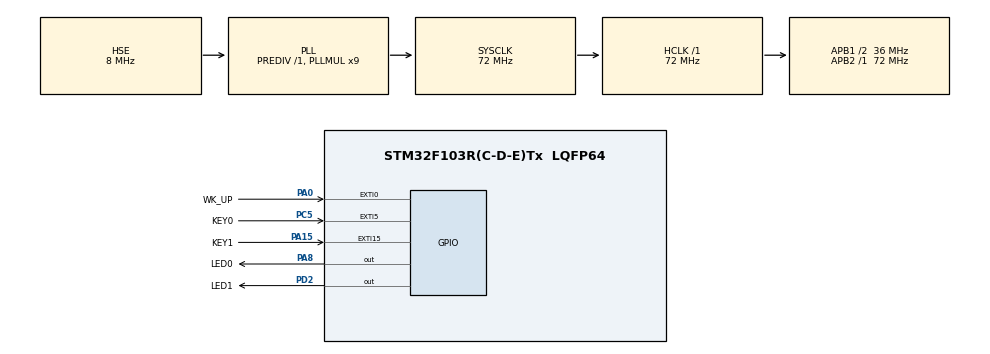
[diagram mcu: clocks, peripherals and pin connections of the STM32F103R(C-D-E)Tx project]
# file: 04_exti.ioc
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Mcu.Family=STM32F1
Mcu.Name=STM32F103R(C-D-E)Tx
Mcu.Package=LQFP64
NVIC.EXTI0_IRQn=true\:2\:0\:true\:false\:true\:true\:true\:true
NVIC.EXTI15_10_IRQn=true\:2\:2\:true\:false\:true\:true\:true\:true
NVIC.EXTI9_5_IRQn=true\:2\:1\:true\:false\:true\:true\:true\:true
NVIC.PriorityGroup=NVIC_PRIORITYGROUP_2
PA0-WKUP.GPIO_Label=WK_UP
PA0-WKUP.GPIO_PuPd=GPIO_PULLDOWN
PA0-WKUP.Signal=GPXTI0
PA13.Mode=Serial_Wire
PA13.Signal=SYS_JTMS-SWDIO
PA14.Mode=Serial_Wire
PA14.Signal=SYS_JTCK-SWCLK
PA15.GPIO_Label=KEY1
PA15.GPIO_ModeDefaultEXTI=GPIO_MODE_IT_FALLING
PA15.GPIO_PuPd=GPIO_PULLUP
PA15.Signal=GPXTI15
PA8.GPIO_Label=LED0
PA8.GPIO_PuPd=GPIO_NOPULL
PA8.PinState=GPIO_PIN_SET
PA8.Signal=GPIO_Output
PC14-OSC32_IN.Mode=LSE-External-Oscillator
PC14-OSC32_IN.Signal=RCC_OSC32_IN
PC15-OSC32_OUT.Mode=LSE-External-Oscillator
PC15-OSC32_OUT.Signal=RCC_OSC32_OUT
PC5.GPIO_Label=KEY0
PC5.GPIO_ModeDefaultEXTI=GPIO_MODE_IT_FALLING
PC5.GPIO_PuPd=GPIO_PULLUP
PC5.Signal=GPXTI5
PD0-OSC_IN.Mode=HSE-External-Oscillator
PD0-OSC_IN.Signal=RCC_OSC_IN
PD1-OSC_OUT.Mode=HSE-External-Oscillator
PD1-OSC_OUT.Signal=RCC_OSC_OUT
PD2.GPIO_Label=LED1
PD2.GPIO_PuPd=GPIO_NOPULL
PD2.PinState=GPIO_PIN_SET
PD2.Signal=GPIO_Output
ProjectManager.HeapSize=0x200
ProjectManager.StackSize=0x400
ProjectManager.TargetToolchain=STM32CubeIDE
RCC.AHBFreq_Value=72000000
RCC.APB1CLKDivider=RCC_HCLK_DIV2
RCC.APB1Freq_Value=36000000
RCC.APB1TimFreq_Value=72000000
RCC.APB2Freq_Value=72000000
RCC.APB2TimFreq_Value=72000000
RCC.HCLKFreq_Value=72000000
RCC.PLLMUL=RCC_PLL_MUL9
RCC.PLLSourceVirtual=RCC_PLLSOURCE_HSE
RCC.SYSCLKFreq_VALUE=72000000
RCC.SYSCLKSource=RCC_SYSCLKSOURCE_PLLCLK
RCC.USBFreq_Value=72000000
board=custom

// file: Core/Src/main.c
/* USER CODE BEGIN Header */
/**
 ******************************************************************************
 * @file           : main.c
 * @brief          : Main program body
 ******************************************************************************
 * @attention
 *
 * Copyright (c) 2025 STMicroelectronics.
 * All rights reserved.
 *
 * This software is licensed under terms that can be found in the LICENSE file
 * in the root directory of this software component.
 * If no LICENSE file comes with this software, it is provided AS-IS.
 *
 ******************************************************************************
 */
/* USER CODE END Header */
#include "main.h"
#include "gpio.h"

/* USER CODE BEGIN Includes */
#include "led.h"
#include "key.h"
/* USER CODE END Includes */

void SystemClock_Config(void);

/* USER CODE BEGIN 0 */
void HAL_GPIO_EXTI_Callback(uint16_t GPIO_Pin){
	HAL_Delay(50);
	switch (GPIO_Pin) {
		case KEY0_Pin:
			if(KEY0 == GPIO_PIN_RESET){
				LED0_TOGGLE();
			}
			break;
		case KEY1_Pin:
			if(KEY1 == GPIO_PIN_RESET ){
				LED1_TOGGLE();
			}
			break;
		default:
			break;
	}
}
/* USER CODE END 0 */

int main(void)
{

  /* MCU Configuration--------------------------------------------------------*/

  /* Reset of all peripherals, Initializes the Flash interface and the Systick. */
  HAL_Init();

  /* Configure the system clock */
  SystemClock_Config();

  /* Initialize all configured peripherals */
  MX_GPIO_Init();

  /* Infinite loop */
  while (1)
  {

  }
}

void SystemClock_Config(void)
{
  RCC_OscInitTypeDef RCC_OscInitStruct = {0};
  RCC_ClkInitTypeDef RCC_ClkInitStruct = {0};

  /** Initializes the RCC Oscillators according to the specified parameters
  * in the RCC_OscInitTypeDef structure.
  */
  RCC_OscInitStruct.OscillatorType = RCC_OSCILLATORTYPE_HSE;
  RCC_OscInitStruct.HSEState = RCC_HSE_ON;
  RCC_OscInitStruct.HSEPredivValue = RCC_HSE_PREDIV_DIV1;
  RCC_OscInitStruct.HSIState = RCC_HSI_ON;
  RCC_OscInitStruct.PLL.PLLState = RCC_PLL_ON;
  RCC_OscInitStruct.PLL.PLLSource = RCC_PLLSOURCE_HSE;
  RCC_OscInitStruct.PLL.PLLMUL = RCC_PLL_MUL9;
  if (HAL_RCC_OscConfig(&RCC_OscInitStruct) != HAL_OK)
  {
    Error_Handler();
  }

  /** Initializes the CPU, AHB and APB buses clocks
  */
  RCC_ClkInitStruct.ClockType = RCC_CLOCKTYPE_HCLK|RCC_CLOCKTYPE_SYSCLK
                              |RCC_CLOCKTYPE_PCLK1|RCC_CLOCKTYPE_PCLK2;
  RCC_ClkInitStruct.SYSCLKSource = RCC_SYSCLKSOURCE_PLLCLK;
  RCC_ClkInitStruct.AHBCLKDivider = RCC_SYSCLK_DIV1;
  RCC_ClkInitStruct.APB1CLKDivider = RCC_HCLK_DIV2;
  RCC_ClkInitStruct.APB2CLKDivider = RCC_HCLK_DIV1;

  if (HAL_RCC_ClockConfig(&RCC_ClkInitStruct, FLASH_LATENCY_2) != HAL_OK)
  {
    Error_Handler();
  }
}

void Error_Handler(void)
{
  __disable_irq();
  while (1)
  {
  }
}
